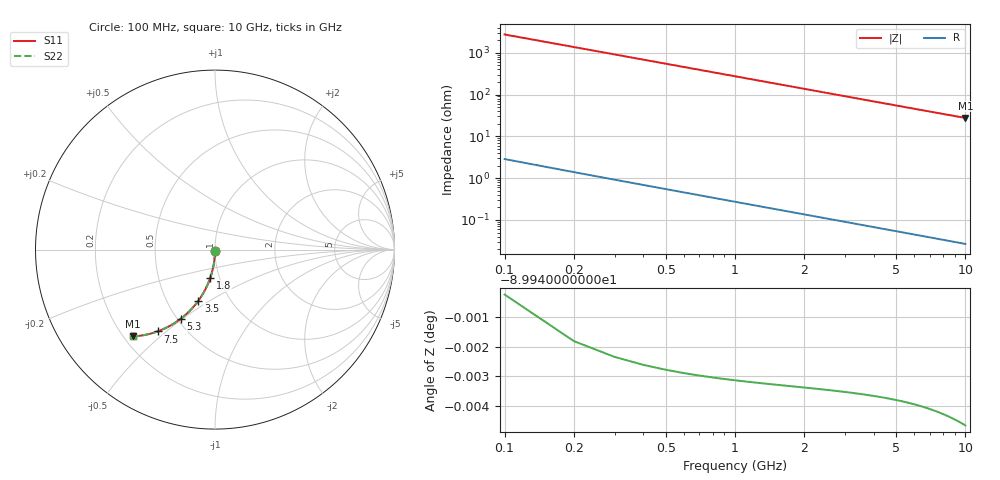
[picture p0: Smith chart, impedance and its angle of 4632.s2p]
# Hz S RI R 50.00
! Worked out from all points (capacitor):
!   100 points, 100 MHz to 10 GHz, reference 50 ohm
!   read as one part in shunt: C = 580 fF near 100 MHz
!   lowest |Z| = 27.6 ohm at 10 GHz (marker M1)
!   S11 on the Smith chart (normalised r, x): 100 MHz: 1.00, -0.02; 1.8 GHz: 0.90, -0.29; 3.5 GHz: 0.71, -0.45; 5.3 GHz: 0.52, -0.49; 7.5 GHz: 0.35, -0.47; 10 GHz: 0.24, -0.41
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1e8  -6.65e-05 -0.00898  0.9999 -0.00924  0.9999 -0.00924  -6.65e-05 -0.00898
2e8  -0.000324 -0.0179  0.9996 -0.0185  0.9996 -0.0185  -0.000324 -0.0179
3e8  -0.000748 -0.0269  0.9992 -0.0277  0.9992 -0.0277  -0.000748 -0.0269
4e8  -0.00134 -0.0359  0.9986 -0.0369  0.9986 -0.0369  -0.00134 -0.0359
5e8  -0.00209 -0.0448  0.9979 -0.0461  0.9979 -0.0461  -0.00209 -0.0448
6e8  -0.00301 -0.0537  0.9969 -0.0553  0.9969 -0.0553  -0.00301 -0.0537
8e8  -0.00533 -0.0714  0.9946 -0.0736  0.9946 -0.0736  -0.00533 -0.0714
1.1e9  -0.01 -0.0978  0.9899 -0.1007  0.9899 -0.1007  -0.01 -0.0978
1.4e9  -0.0161 -0.1237  0.9838 -0.1274  0.9838 -0.1274  -0.0161 -0.1237
1.8e9  -0.0263 -0.1574  0.9736 -0.1622  0.9736 -0.1622  -0.0263 -0.1574
2.1e9  -0.0355 -0.1818  0.9644 -0.1875  0.9644 -0.1875  -0.0355 -0.1818
2.5e9  -0.0496 -0.2133  0.9503 -0.22  0.9503 -0.22  -0.0496 -0.2133
2.9e9  -0.0656 -0.2433  0.9343 -0.2511  0.9343 -0.2511  -0.0656 -0.2433
3.4e9  -0.088 -0.2783  0.9119 -0.2875  0.9119 -0.2875  -0.088 -0.2783
3.5e9  -0.0928 -0.285  0.9071 -0.2944  0.9071 -0.2944  -0.0928 -0.285
4.3e9  -0.1338 -0.3342  0.8661 -0.3458  0.8661 -0.3458  -0.1338 -0.3342
5.1e9  -0.1786 -0.3756  0.8213 -0.3895  0.8213 -0.3895  -0.1786 -0.3756
5.3e9  -0.1902 -0.3848  0.8097 -0.3992  0.8097 -0.3992  -0.1902 -0.3848
6.7e9  -0.2731 -0.436  0.7266 -0.4543  0.7266 -0.4543  -0.2731 -0.436
7.5e9  -0.3203 -0.4558  0.6794 -0.4765  0.6794 -0.4765  -0.3203 -0.4558
8.4e9  -0.3717 -0.4712  0.6279 -0.4944  0.6279 -0.4944  -0.3717 -0.4712
1e10  -0.4565 -0.4837  0.5431 -0.5115  0.5431 -0.5115  -0.4565 -0.4837
